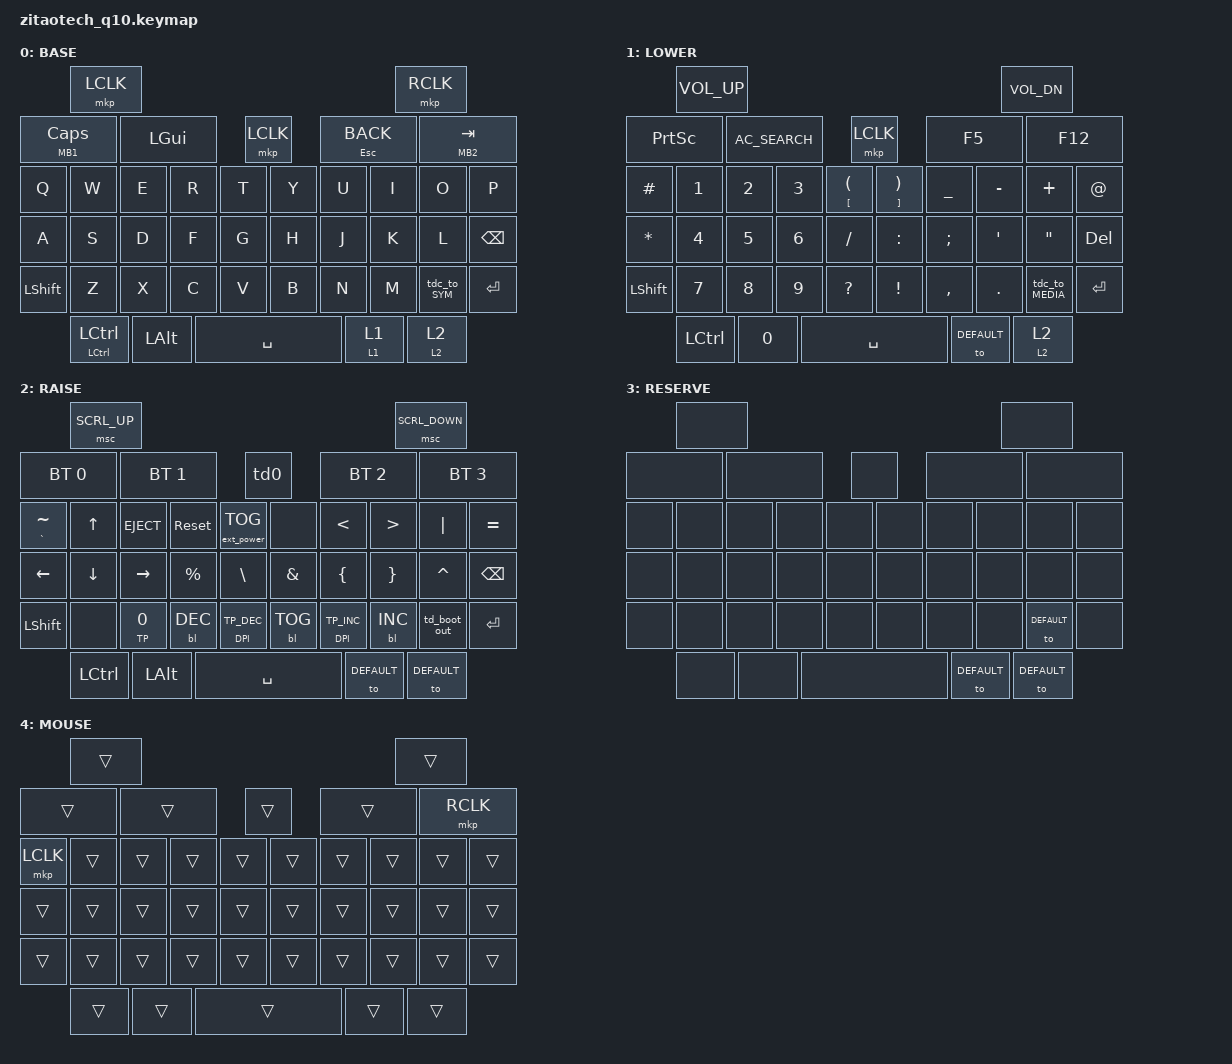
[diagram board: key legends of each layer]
/*
 * Copyright (c) 2025 ZitaoTech
 *
 * SPDX-License-Identifier: MIT
 */

#include "../small_keyboard_behaviors.dtsi"
#include <behaviors/runtime_macro.dtsi>
#include <dt-bindings/zmk/keys.h>
#include <dt-bindings/zmk/bt.h>
#include <dt-bindings/zmk/outputs.h>
#include <dt-bindings/zmk/mouse.h>
#include <dt-bindings/zmk/backlight.h>
#include <dt-bindings/zmk/ext_power.h>
#include <dt-bindings/zmk/rgb.h>
#include <behaviors/trackpad_dpi.dtsi>
#include <behaviors/trackpad_mode.dtsi>

#define DEFAULT 0
#define SYM 1
#define UPPER 2
#define MEDIA 3

#define TP_INC 0
#define TP_DEC 1


#define SL_MO(layer) &sl_mo layer layer //tap -> sticky layer, hold -> momentary layer

&sl {
    release-after-ms = <3000>;
    };

/ {
    behaviors {
        td0: tap_dance_0 {
            compatible = "zmk,behavior-tap-dance";
            #binding-cells = <0>;
            tapping-term-ms = <400>;
            bindings = <&mkp LCLK>, <&bt BT_CLR>;
        };
    };

    behaviors {
        td_boot_out: td_boot_out {
            compatible = "zmk,behavior-tap-dance";
            #binding-cells = <0>;
            tapping-term-ms = <400>;
            bindings = <&bootloader>, <&out OUT_TOG>;
        };
    };

    behaviors {
        tdc_to_SYM: td_comma_to_layer {
            compatible = "zmk,behavior-tap-dance";
            #binding-cells = <0>;
            tapping-term-ms = <400>;
            bindings = <&mt DLLR SEMI>, <&to SYM>;
        };
    };

    behaviors {
        tdc_to_MEDIA: td_mute_to_layer {
            compatible = "zmk,behavior-tap-dance";
            #binding-cells = <0>;
            tapping-term-ms = <400>;
            bindings = <&kp C_MUTE>, <&to MEDIA>;
        };
    };

    behaviors {
        hm: homerow_mods {
            compatible = "zmk,behavior-hold-tap";
            #binding-cells = <2>;
            tapping-term-ms = <400>;
            bindings = <&kp &kp>;
        };
    };


    behaviors {
         M_kp: behavior_mouse_keypress {
           compatible = "zmk,behavior-hold-tap";
           #binding-cells = <2>;
           flavor = "tap-preferred";     /* 单击优先 */
           tapping-term-ms = <500>;       /* 长按阈值 */
           bindings = <&mkp &kp>;        /* hold=mou key press, tap=key*/
        };
    };

    behaviors {
    sl_mo: behavior_sl_mo {
        compatible = "zmk,behavior-hold-tap";
        #binding-cells = <2>;
        flavor = "hold-preferred";      /* 单击优先 */
        tapping-term-ms = <450>;       /* 长按阈值 */
        bindings = <&mo &sl>;          /* hold=MO, tap=SL */
        };
    };

    behaviors {
    sk_kp: behavior_sk_kp {
        compatible = "zmk,behavior-hold-tap";
        #binding-cells = <2>;
        flavor = "hold-preferred";
        tapping-term-ms = <450>;
        bindings = <&kp &sk>;          /* hold=kp, tap=sticky key */
        };
    };

    keymap {
        compatible = "zmk,keymap";

        default_layer {
            display-name = "BASE";

            bindings = <
//         --------------------------------------------------------------------------------------------------------------------------
//         |    Shoulder Key1    |                                                                             |    Shoulder Key2    |
// |         Call key      |      Blackberry Key        |    Trackpad    |             Back Key                |             Endcall Key          |
// |     Q      |     W    |     E    |     R    |      T      |       Y        |       U        |        I        |       O      |      P        |
// |     A      |     S    |     D    |     F    |      G      |       H        |       J        |        K        |       L      |      ←        |
// |     alt    |     Z    |     X    |     C    |      V      |       B        |       N        |        M        |       $      |    Enter      |
//        |         aA     |         0           |           SPACE              |         SYM         |        aA          |
//        -----------------------------------------------------------------------------------------------------------------

                 &mkp LCLK                                                                                          &mkp RCLK
    &M_kp MB1 CLCK          &kp LGUI                            &mkp LCLK                          &mt ESC K_BACK                    &M_kp MB2 TAB
    &kp Q        &kp W      &kp E       &kp R     &kp T         &kp Y             &kp U            &kp I            &kp O            &kp P
    &kp A        &kp S      &kp D       &kp F     &kp G         &kp H             &kp J            &kp K            &kp L            &kp BSPC
    &kp LSHFT    &kp Z      &kp X       &kp C     &kp V         &kp B             &kp N            &kp M            &tdc_to_SYM      &kp ENTER
    &sk_kp LCTRL  LCTRL     &kp LALT                            &kp SPACE                          &sl_mo 1 1                        &sl_mo 2 2
            >;
        };


        sym_layer {
            display-name = "LOWER";

            bindings = <
                 &kp C_VOL_UP                                                                                       &kp C_VOL_DN
    &kp PSCRN               &kp C_AC_SEARCH                     &mkp LCLK                          &kp F5                            &kp F12
    &kp HASH     &kp N1     &kp N2      &kp N3    &mt LBKT LPAR &mt RBKT RPAR     &kp UNDER        &kp MINUS        &kp PLUS         &kp AT
    &kp STAR     &kp N4     &kp N5      &kp N6    &kp SLASH     &kp COLON         &kp SEMI         &kp APOS         &kp DQT          &kp DEL
    &kp LSHFT    &kp N7     &kp N8      &kp N9    &kp QMARK     &kp EXCL          &kp COMMA        &kp DOT          &tdc_to_MEDIA    &kp ENTER
    &kp LCTRL               &kp N0                              &kp SPACE                          &to DEFAULT                       &sl_mo 2 2
            >;
        };

        upper_layer {
            display-name = "RAISE";

            bindings = <
                 &msc SCRL_UP                                                                               &msc SCRL_DOWN
    &bt BT_SEL 0            &bt BT_SEL 1                                  &td0                              &bt BT_SEL 2                     &bt BT_SEL 3
    &hm GRAVE TILDE &kp UP     &kp C_EJECT &sys_reset      &ext_power EP_TOG &none            &kp LT           &kp GT          &kp PIPE         &kp EQUAL
    &kp LEFT     &kp DOWN   &kp RIGHT   &kp PERCENT &kp BSLH          &kp AMPS         &kp LBRC         &kp RBRC        &kp CARET        &kp BSPC
    &kp LSHFT    &none      &TP 0       &bl BL_DEC      &DPI TP_DEC       &bl BL_TOG       &DPI TP_INC      &bl BL_INC      &td_boot_out     &kp ENTER
    &kp LCTRL               &kp LALT                                      &kp  SPACE                        &to DEFAULT                      &to DEFAULT
            >;
        };

        media_layer {
            display-name = "RESERVE";

            bindings = <
                 &none                                                                                        &none
    &none                  &none                               &none                         &none                            &none
    &none        &none     &none       &none      &none        &none         &none           &none           &none            &none
    &none        &none     &none       &none      &none        &none         &none           &none           &none            &none
    &none        &none     &none       &none      &none        &none         &none           &none           &to DEFAULT      &none
    &none                  &none                               &none                         &to DEFAULT                      &to DEFAULT
            >;
        };

        /*
         * Automatic mouse layer (index 4).
         *
         * Everything is transparent, so the keys behave exactly like layer 0;
         * only the two mouse buttons differ: Q is the left button and the
         * rightmost key of the top row is the right button.  Pressing a key
         * needs less force than pressing the trackpad, which makes dragging
         * smooth.  The layer is held by &zip_temp_layer while a finger is on
         * the trackpad and is switched on/off from ZitaoTech Studio.
         */
        mouse_layer {
            display-name = "MOUSE";

            bindings = <
                 &trans                                                                                        &trans
    &trans                  &trans                               &trans                         &trans                            &mkp RCLK
    &mkp LCLK    &trans     &trans      &trans    &trans        &trans        &trans           &trans           &trans            &trans
    &trans       &trans     &trans      &trans    &trans        &trans        &trans           &trans           &trans            &trans
    &trans       &trans     &trans      &trans    &trans        &trans        &trans           &trans           &trans            &trans
    &trans                  &trans                               &trans                         &trans                            &trans
            >;
        };
        /* Studio allocates these slots when Add layer (+) is used. */
        extra1 { status = "reserved"; };
        extra2 { status = "reserved"; };
        extra3 { status = "reserved"; };
        extra4 { status = "reserved"; };
    };
};
